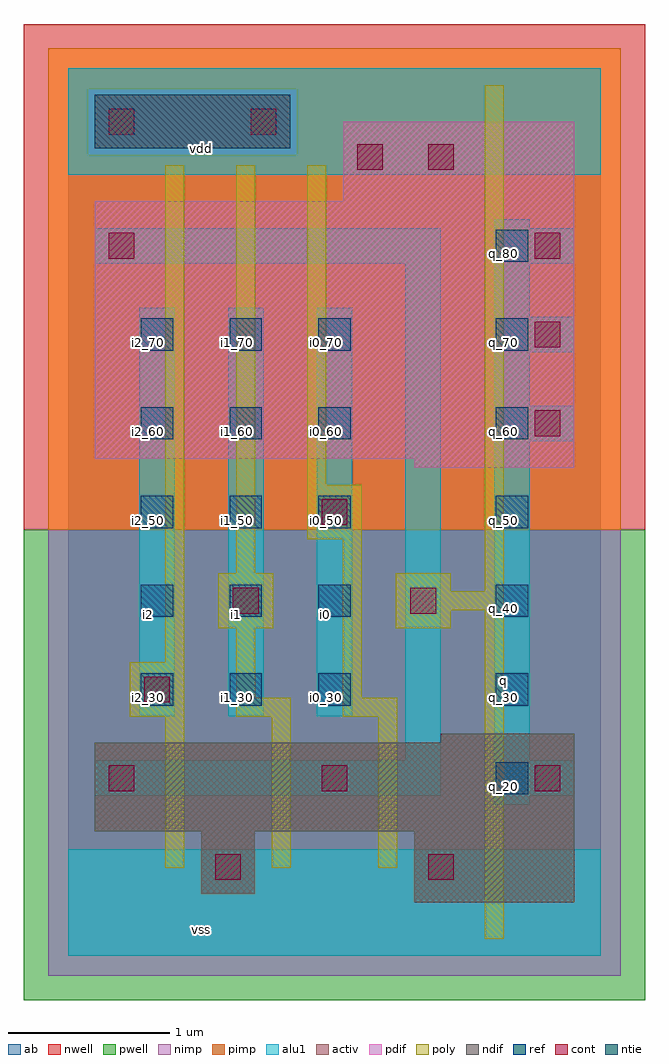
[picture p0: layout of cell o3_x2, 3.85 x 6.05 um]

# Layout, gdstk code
import gdstk
lib = gdstk.Library(unit=1e-6, precision=2.5e-09)
def R(c, l, rs):  # rectangles x0, y0, x1, y1
    for r in rs: c.add(gdstk.rectangle(r[:2], r[2:], *l))
def A(c, l, x, y, w, h, nx, ny, dx, dy):  # array of equal rectangles
    R(c, l, [(x+i*dx, y+j*dy, x+i*dx+w, y+j*dy+h) for i in range(nx) for j in range(ny)])
ndif = (3, 0)
pdif = (4, 0)
ntie = (5, 0)
ref = (24, 0)
cont = (25, 0)
pwell = (41, 0)
nwell = (42, 0)
activ = (43, 0)
pimp = (44, 0)
nimp = (45, 0)
poly = (46, 0)
alu1 = (49, 0)
ab = (63, 0)

o3_x2 = lib.new_cell('o3_x2')
R(o3_x2, ndif, [(2.145,0.33,3.135,0.77), (0.825,0.385,1.155,0.77), (0.165,0.77,3.135,1.32), (2.31,1.32,3.135,1.375)])
R(o3_x2, pdif, [(2.145,3.025,3.135,3.08), (0.165,3.08,3.135,4.675), (1.705,4.675,3.135,5.17)])
R(o3_x2, ntie, [(0.165,5.005,1.375,5.335)])
A(o3_x2, ref, 2.65, 1, 0.2, 0.2, 1, 7, 0, 0.55)
A(o3_x2, ref, 0.45, 1.55, 0.2, 0.2, 3, 5, 0.55, 0.55)
A(o3_x2, cont, 0.25, 1.02, 0.16, 0.16, 3, 1, 1.32, 0)
A(o3_x2, cont, 2.89, 3.22, 0.16, 0.16, 1, 3, 0, 0.55)
R(o3_x2, cont, [(0.91,0.47,1.07,0.63), (2.23,0.47,2.39,0.63), (0.47,1.57,0.63,1.73), (1.02,2.12,1.18,2.28), (2.12,2.12,2.28,2.28), (1.57,2.67,1.73,2.83), (0.25,4.32,0.41,4.48), (1.79,4.87,1.95,5.03), (2.23,4.87,2.39,5.03), (0.25,5.09,0.41,5.25), (1.13,5.09,1.29,5.25)])
R(o3_x2, pwell, [(-0.275,-0.275,3.575,2.64)])
R(o3_x2, nwell, [(-0.275,2.64,3.575,5.775)])
R(o3_x2, activ, [(2.145,0.33,3.135,0.77), (0.825,0.385,1.155,0.77), (0.165,0.77,3.135,1.32), (2.31,1.32,3.135,1.375), (2.145,3.025,3.135,3.08), (0.165,3.08,3.135,4.675), (1.705,4.675,3.135,5.17), (0.165,5.005,1.375,5.335)])
R(o3_x2, pimp, [(-0.125,2.64,3.425,4.965), (-0.125,4.965,0.125,5.375), (1.415,4.965,3.425,5.375), (-0.125,5.375,3.425,5.625)])
R(o3_x2, nimp, [(-0.125,-0.125,3.425,2.64), (0.125,4.965,1.415,5.375)])
A(o3_x2, poly, 0.6, 0.545, 0.12, 0.935, 3, 1, 0.66, 0)
R(o3_x2, poly, [(2.58,0.105,2.7,2.14), (0.38,1.48,0.72,1.82), (1.04,1.48,1.38,1.6), (1.7,1.48,2.04,1.6), (1.04,1.6,1.16,2.03), (1.7,1.6,1.82,2.58), (0.6,1.82,0.72,4.9), (0.93,2.03,1.27,2.37), (2.03,2.03,2.37,2.14), (2.03,2.14,2.7,2.26), (2.03,2.26,2.37,2.37), (2.58,2.26,2.7,5.395), (1.04,2.37,1.16,4.9), (1.48,2.58,1.82,2.92), (1.48,2.92,1.6,4.9)])
A(o3_x2, alu1, 0.44, 1.485, 0.22, 2.53, 3, 1, 0.55, 0)
A(o3_x2, alu1, 2.64, 3.19, 0.495, 0.22, 1, 3, 0, 0.55)
R(o3_x2, alu1, [(0,0,3.3,0.66), (2.64,0.935,2.86,0.99), (0.165,0.99,2.31,1.21), (2.64,0.99,3.135,1.21), (2.09,1.21,2.31,4.29), (2.64,1.21,2.86,3.19), (2.64,3.41,2.86,3.74), (2.64,3.96,2.86,4.29), (0.165,4.29,2.31,4.51), (2.64,4.51,2.86,4.565), (0,4.84,3.3,5.5)])
R(o3_x2, ab, [(0,0,3.3,5.5)])
o3_x2.add(gdstk.Label('vss', (0.825,0.165), layer=49, texttype=0))
o3_x2.add(gdstk.Label('q', (2.695,1.705), layer=49, texttype=0))
o3_x2.add(gdstk.Label('i0', (1.595,2.1175), layer=49, texttype=0))
o3_x2.add(gdstk.Label('i1', (1.045,2.1175), layer=49, texttype=0))
o3_x2.add(gdstk.Label('i2', (0.495,2.1175), layer=49, texttype=0))
o3_x2.add(gdstk.Label('vdd', (0.825,5.005), layer=49, texttype=0))
o3_x2.add(gdstk.Label('i2_60', (0.5,3.25), layer=24, texttype=0))
o3_x2.add(gdstk.Label('i2_70', (0.5,3.8), layer=24, texttype=0))
o3_x2.add(gdstk.Label('i2_30', (0.5,1.6), layer=24, texttype=0))
o3_x2.add(gdstk.Label('i2_40', (0.5,2.15), layer=24, texttype=0))
o3_x2.add(gdstk.Label('i2_50', (0.5,2.7), layer=24, texttype=0))
o3_x2.add(gdstk.Label('i1_70', (1.05,3.8), layer=24, texttype=0))
o3_x2.add(gdstk.Label('i1_60', (1.05,3.25), layer=24, texttype=0))
o3_x2.add(gdstk.Label('i1_50', (1.05,2.7), layer=24, texttype=0))
o3_x2.add(gdstk.Label('i1_40', (1.05,2.15), layer=24, texttype=0))
o3_x2.add(gdstk.Label('i1_30', (1.05,1.6), layer=24, texttype=0))
o3_x2.add(gdstk.Label('i0_30', (1.6,1.6), layer=24, texttype=0))
o3_x2.add(gdstk.Label('i0_40', (1.6,2.15), layer=24, texttype=0))
o3_x2.add(gdstk.Label('i0_50', (1.6,2.7), layer=24, texttype=0))
o3_x2.add(gdstk.Label('i0_60', (1.6,3.25), layer=24, texttype=0))
o3_x2.add(gdstk.Label('i0_70', (1.6,3.8), layer=24, texttype=0))
o3_x2.add(gdstk.Label('q_80', (2.7,4.35), layer=24, texttype=0))
o3_x2.add(gdstk.Label('q_70', (2.7,3.8), layer=24, texttype=0))
o3_x2.add(gdstk.Label('q_60', (2.7,3.25), layer=24, texttype=0))
o3_x2.add(gdstk.Label('q_50', (2.7,2.7), layer=24, texttype=0))
o3_x2.add(gdstk.Label('q_40', (2.7,2.15), layer=24, texttype=0))
o3_x2.add(gdstk.Label('q_30', (2.7,1.6), layer=24, texttype=0))
o3_x2.add(gdstk.Label('q_20', (2.7,1.05), layer=24, texttype=0))

lib.write_gds('o3_x2.gds')
